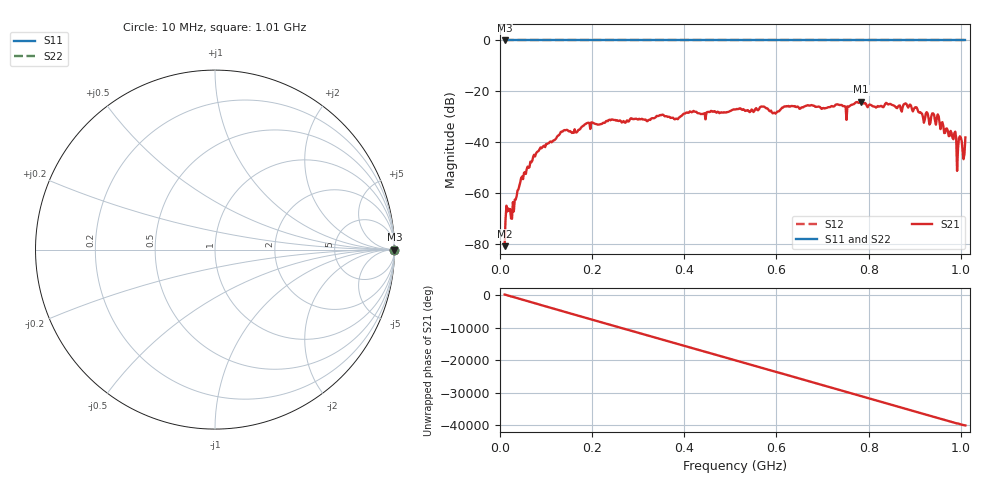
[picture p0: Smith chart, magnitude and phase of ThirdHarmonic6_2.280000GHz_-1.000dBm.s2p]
! 8/17/2025 2:57:07 AM
! C:\ANRITSUVNA\TEMP\TEMP.S2P
! CHANNEL.1
! TR.MEASUREMENT
! RAW.DATA
! RF.CORRECTION.OFF
! AVERAGING.OFF
! IF.BANDWIDTH: 5KHZ
! SWEEPTYPE:  FREQ.SWEEP(Linear)
! Reference Plane Port Info
! PORT:  PORT1  PORT2
! DISTANCE:  0  m  0  m
! TIME:  0  s  0  s
! PHASE.OFFSET:  0  deg.  0  deg.
! LOSS:  0  dB  0  dB
! REF.LOSS:  0  dB  0  dB
! REF.FREQ:  0  Hz  0  Hz
! Power Info
! POWER:  -20  dBm  -20  dBm
! EFF.POWER:  -20  dBm  -20  dBm
! SOURCE.ATTEN:  0  dB  0  dB
! TEST.ATTEN:  0  dB  0  dB
# GHZ S RI R 50.0
! FREQ.GHZ  S11RE  S11IM  S21RE  S21IM  S12RE  S12IM  S22RE  S22IM
!; PortSelection: Port_12
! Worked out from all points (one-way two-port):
!   501 points, 10 MHz to 1.01 GHz, reference 50 ohm
!   highest |S21| = -24.06 dB at 784 MHz (marker M1); lowest = -80.8 dB at 10 MHz (marker M2)
!   lowest |S11| = 0.0 dB at 10 MHz (marker M3)
!   |S11| at or under -10 dB: nowhere
!   |S22| runs from 0.0 to 0.0 dB; largest |S21 - S12| = 1.1
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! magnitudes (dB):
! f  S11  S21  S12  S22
! 10 MHz  0.0  -80.8  0.0  0.0
! 16 MHz  0.0  -67.2  0.0  0.0
! 28 MHz  0.0  -63.5  0.0  0.0
! 44 MHz  0.0  -55.7  0.0  0.0
! 76 MHz  0.0  -45.6  0.0  0.0
! 136 MHz  0.0  -35.8  0.0  0.0
! 178 MHz  0.0  -33.8  0.0  0.0
! 344 MHz  0.0  -29.7  0.0  0.0
! 382 MHz  0.0  -30.7  0.0  0.0
! 510 MHz  0.0  -27.1  0.0  0.0
! 570 MHz  0.0  -26.0  0.0  0.0
! 596 MHz  0.0  -28.4  0.0  0.0
! 678 MHz  0.0  -25.5  0.0  0.0
! 754 MHz  0.0  -25.9  0.0  0.0
! 784 MHz  0.0  -24.1  0.0  0.0
! 844 MHz  0.0  -25.1  0.0  0.0
! 940 MHz  0.0  -28.7  0.0  0.0
! 986 MHz  0.0  -36.4  0.0  0.0
! 994 MHz  0.0  -42.4  0.0  0.0
! 998 MHz  0.0  -37.7  0.0  0.0
! 1.004 GHz  0.0  -43.5  0.0  0.0
! 1.01 GHz  0.0  -38.1  0.0  0.0
